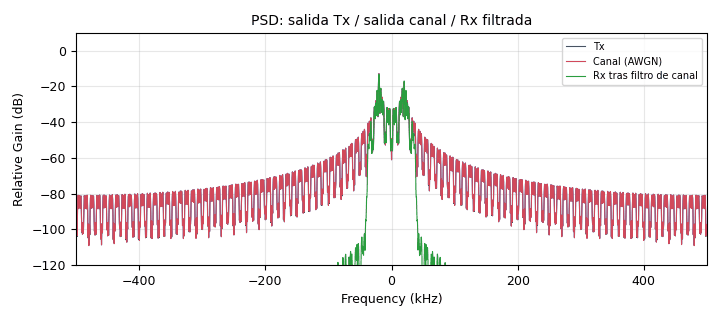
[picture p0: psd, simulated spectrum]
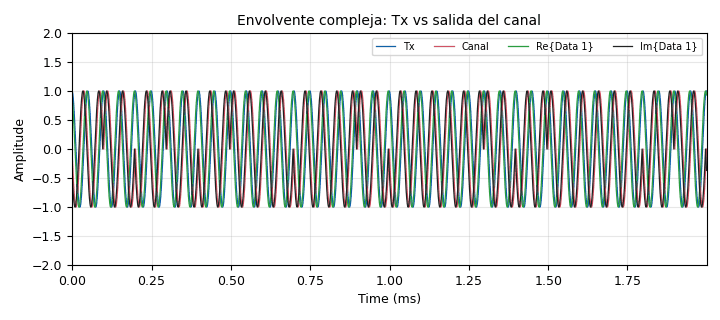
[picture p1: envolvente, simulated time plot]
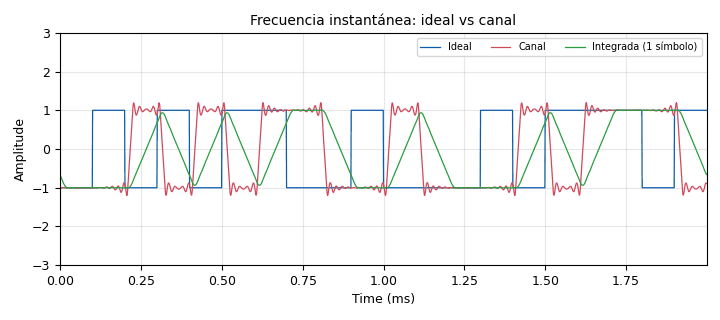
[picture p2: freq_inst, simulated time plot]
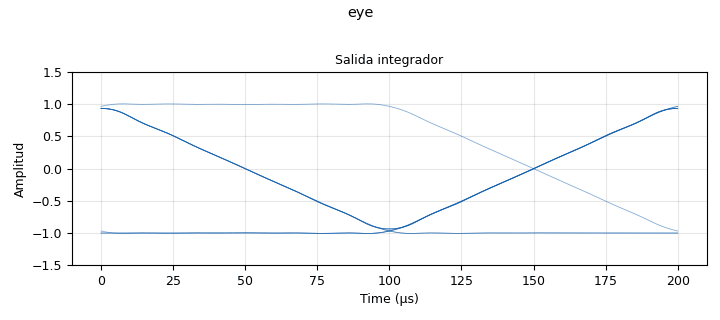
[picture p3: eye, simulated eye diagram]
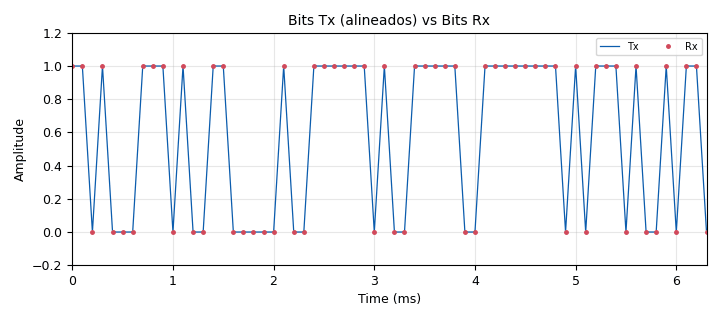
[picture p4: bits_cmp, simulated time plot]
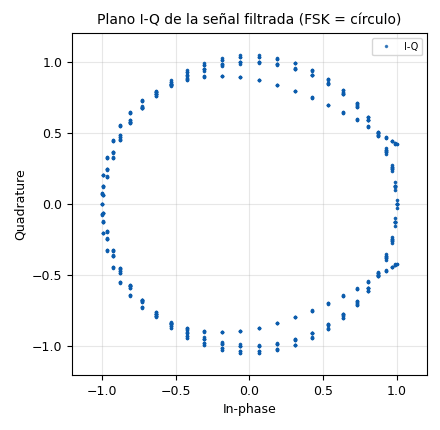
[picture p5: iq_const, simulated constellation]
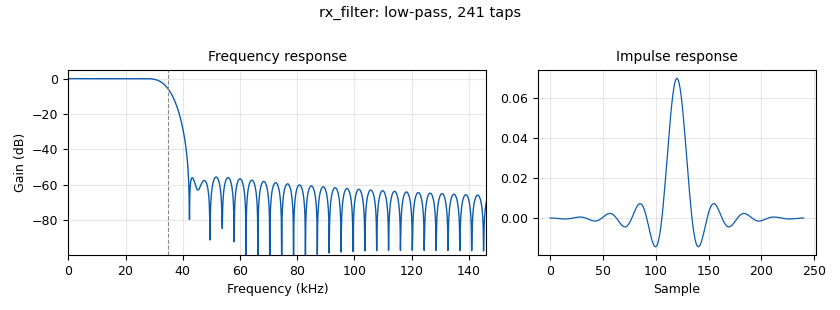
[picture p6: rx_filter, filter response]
options:
  parameters:
    comment: 'Fase 2 - Guia 2: Tx conformado + canal AWGN + receptor disenado'
    description: Simulacion BFSK 10 kbps, df=20 kHz, canal AWGN y receptor con ojo, bits y BER
    generate_options: qt_gui
    id: FSK_Tx_Canal_Rx_Sim
    output_language: python
    title: FSK Tx-Canal-Rx (Guia 2) - Telemetria industrial
  states: {}

blocks:
- name: samp_rate
  id: variable
  parameters:
    comment: 'Tasa de muestreo: 100 MHz/100 en el USRP y 8 MS/s/8 en el HackRF'
    value: 1e6
  states: {}
- name: sps
  id: variable
  parameters:
    comment: Muestras por simbolo
    value: '100'
  states: {}
- name: symbol_rate
  id: variable
  parameters:
    comment: Rs = 10 kbaud (telemetria industrial)
    value: samp_rate/sps
  states: {}
- name: Rb
  id: variable
  parameters:
    comment: 'BFSK binaria: Rb = Rs = 10 kbps'
    value: symbol_rate
  states: {}
- name: ber_window
  id: variable
  parameters:
    comment: Bits promediados para la BER
    value: '10000'
  states: {}
- name: fsk_deviation
  id: variable_qtgui_range
  parameters:
    comment: bit 1 -> +df, bit 0 -> -df
    label: Desviación FSK Δf (Hz)
    value: '20000'
    start: '5000'
    stop: '100000'
    step: '1000'
    gui_hint: 0,0,1,1
  states: {}
- name: noise_voltage
  id: variable_qtgui_range
  parameters:
    comment: Potencia de ruido = sigma^2 sobre samp_rate
    label: Ruido AWGN (noise_voltage σ)
    value: '0'
    start: '0'
    stop: '5'
    step: '0.05'
    gui_hint: 0,1,1,1
  states: {}
- name: sample_offset
  id: variable_qtgui_range
  parameters:
    comment: 16 = maxima apertura del ojo (retardo filtro+integrador = 216 muestras)
    label: Instante de muestreo dentro del símbolo (muestra)
    rangeType: int
    value: '16'
    start: '0'
    stop: '99'
    step: '1'
    gui_hint: 1,0,1,2
  states: {}
- name: bit_delay
  id: variable
  parameters:
    comment: Retardo de la cadena Rx en bits (medido = 2), alinea Tx con Rx
    value: '2'
  states: {}
- name: h_fsk
  id: variable_qtgui_label
  parameters:
    label: Índice de modulación h = 2Δf/Rs
    type: real
    value: 2*fsk_deviation/symbol_rate
    gui_hint: 2,0,1,1
  states: {}
- name: ebn0_db
  id: variable_qtgui_label
  parameters:
    label: Eb/N0 = 10log10(sps/σ²)
    type: string
    value: ('%.1f dB' % (10*math.log10(sps/noise_voltage**2))) if noise_voltage > 0 else 'sin ruido'
    gui_hint: 2,1,1,1
  states: {}
- name: import_0
  id: import
  parameters:
    imports: import math
  states: {}
- name: bit_source
  id: analog_random_source_x
  parameters:
    comment: Bits aleatorios (tramas de telemetria)
    type: byte
    min: '0'
    max: '2'
    num_samps: '10000'
    repeat: 'True'
  states: {}
- name: nrz_mapper
  id: digital_chunks_to_symbols_xx
  parameters:
    dimension: '1'
    in_type: byte
    out_type: float
    symbol_table: '[-1.0, 1.0]'
  states: {}
- name: symbol_repeat
  id: blocks_repeat
  parameters:
    interp: sps
    type: float
  states: {}
- name: fsk_modulator
  id: analog_frequency_modulator_fc
  parameters:
    sensitivity: 2*math.pi*fsk_deviation/samp_rate
  states: {}
- name: throttle
  id: blocks_throttle2
  parameters:
    comment: Solo en simulacion (sin hardware)
    samples_per_second: samp_rate
    type: complex
  states: {}
- name: channel_awgn
  id: channels_channel_model
  parameters:
    block_tags: 'True'
    comment: 'Canal AWGN: ruido de banda ancha de motores/variadores + termico'
    epsilon: '1.0'
    freq_offset: '0.0'
    noise_voltage: noise_voltage
    seed: '0'
    taps: 1.0 + 0.0j
  states: {}
- name: rx_filter
  id: low_pass_filter
  parameters:
    comment: 'Filtro de canal pre-discriminador (~Carson): evita el umbral del discriminador'
    type: fir_filter_ccf
    decim: '1'
    gain: '1'
    samp_rate: samp_rate
    cutoff_freq: fsk_deviation + 1.5*symbol_rate
    width: 10e3
    win: window.WIN_HAMMING
  states: {}
- name: fsk_demod_rx
  id: analog_quadrature_demod_cf
  parameters:
    comment: 'Discriminador: +1 / -1'
    gain: samp_rate/(2*math.pi*fsk_deviation)
  states: {}
- name: integrador
  id: blocks_moving_average_xx
  parameters:
    comment: Integrador de 1 simbolo (filtro acoplado a pulso NRZ)
    type: float
    length: sps
    scale: 1.0/sps
    max_iter: '4000'
  states: {}
- name: eye_align
  id: blocks_delay
  parameters:
    comment: 'Solo visual: centra en el ojo el instante elegido'
    delay: (sps - sample_offset) % sps
    type: float
  states: {}
- name: symbol_sampler
  id: blocks_keep_m_in_n
  parameters:
    comment: Toma 1 muestra por simbolo en sample_offset
    type: float
    m: '1'
    n: sps
    offset: sample_offset
  states: {}
- name: slicer
  id: digital_binary_slicer_fb
  parameters:
    comment: Umbral de decision = 0
  states: {}
- name: fsk_demod_tx
  id: analog_quadrature_demod_cf
  parameters:
    comment: Referencia ideal (sin canal)
    gain: samp_rate/(2*math.pi*fsk_deviation)
  states: {}
- name: tx_ref_delay
  id: blocks_delay
  parameters:
    delay: bit_delay
    type: byte
  states: {}
- name: bit_xor
  id: blocks_xor_xx
  parameters:
    comment: 1 = error de bit
    type: byte
  states: {}
- name: err_to_float
  id: blocks_char_to_float
  parameters:
    scale: '1'
  states: {}
- name: ber_avg
  id: blocks_moving_average_xx
  parameters:
    type: float
    length: ber_window
    scale: 1.0/ber_window
    max_iter: '4000'
  states: {}
- name: tx_to_float
  id: blocks_char_to_float
  parameters:
    scale: '1'
  states: {}
- name: rx_to_float
  id: blocks_char_to_float
  parameters:
    scale: '1'
  states: {}
- name: psd
  id: qtgui_freq_sink_x
  parameters:
    bw: samp_rate
    fc: '0'
    fftsize: '2048'
    grid: 'True'
    gui_hint: 4,0,1,1
    label1: Tx
    label2: Canal (AWGN)
    label3: Rx tras filtro de canal
    name: '"PSD: salida Tx / salida canal / Rx filtrada"'
    nconnections: '3'
    type: complex
    ymin: '-120'
  states: {}
- name: envolvente
  id: qtgui_time_sink_x
  parameters:
    grid: 'True'
    gui_hint: 4,1,1,1
    label1: Tx
    label2: Canal
    label3: ''
    label4: ''
    name: '"Envolvente compleja: Tx vs salida del canal"'
    nconnections: '2'
    size: '2000'
    srate: samp_rate
    type: complex
    ymax: '2'
    ymin: '-2'
  states: {}
- name: freq_inst
  id: qtgui_time_sink_x
  parameters:
    grid: 'True'
    gui_hint: 5,0,1,1
    label1: Ideal
    label2: Canal
    label3: Integrada (1 símbolo)
    name: '"Frecuencia instantánea: ideal vs canal"'
    nconnections: '3'
    size: '2000'
    srate: samp_rate
    type: float
    ymax: '3'
    ymin: '-3'
  states: {}
- name: eye
  id: qtgui_eye_sink_x
  parameters:
    comment: Centro de la traza = instante de muestreo
    type: float
    ylabel: Amplitud
    size: '2000'
    samp_per_symbol: sps
    srate: samp_rate
    ymin: '-1.5'
    ymax: '1.5'
    gui_hint: 5,1,1,1
    label1: Salida integrador
  states: {}
- name: bits_cmp
  id: qtgui_time_sink_x
  parameters:
    grid: 'True'
    gui_hint: 6,0,1,2
    label1: Tx
    label2: Rx
    marker2: '0'
    name: '"Bits Tx (alineados) vs Bits Rx"'
    nconnections: '2'
    size: '64'
    srate: symbol_rate
    style2: '0'
    type: float
    ymax: '1.2'
    ymin: '-0.2'
  states: {}
- name: ber
  id: qtgui_number_sink
  parameters:
    name: '"BER (ventana de ber_window bits)"'
    type: float
    graph_type: qtgui.NUM_GRAPH_HORIZ
    min: '0'
    max: '0.5'
    gui_hint: 3,0,1,2
    label1: BER
    color1: ''
  states: {}
- name: iq_const
  id: qtgui_const_sink_x
  parameters:
    autoscale: 'True'
    comment: 'Envolvente constante: circulo; el ruido engrosa el anillo'
    grid: 'True'
    gui_hint: 7,0,1,1
    label1: I-Q
    name: '"Plano I-Q de la señal filtrada (FSK = círculo)"'
    size: '1024'
    type: complex
  states: {}
- name: soft_to_complex
  id: blocks_float_to_complex
  parameters:
    comment: Muestra de decision -> eje I
  states: {}
- name: decision_const
  id: qtgui_const_sink_x
  parameters:
    comment: Dos nubes en -1 (bit 0) y +1 (bit 1); umbral en 0
    grid: 'True'
    gui_hint: 7,1,1,1
    label1: Simbolos
    name: '"Constelación de decisión (muestra por símbolo)"'
    size: '512'
    type: complex
    ymax: '1'
    ymin: '-1'
  states: {}

connections:
- [rx_filter, '0', iq_const, '0']
- [symbol_sampler, '0', soft_to_complex, '0']
- [soft_to_complex, '0', decision_const, '0']
- [bit_source, '0', nrz_mapper, '0']
- [nrz_mapper, '0', symbol_repeat, '0']
- [symbol_repeat, '0', fsk_modulator, '0']
- [fsk_modulator, '0', throttle, '0']
- [throttle, '0', channel_awgn, '0']
- [channel_awgn, '0', rx_filter, '0']
- [rx_filter, '0', fsk_demod_rx, '0']
- [fsk_demod_rx, '0', integrador, '0']
- [integrador, '0', symbol_sampler, '0']
- [integrador, '0', eye_align, '0']
- [symbol_sampler, '0', slicer, '0']
- [throttle, '0', fsk_demod_tx, '0']
- [bit_source, '0', tx_ref_delay, '0']
- [tx_ref_delay, '0', bit_xor, '0']
- [slicer, '0', bit_xor, '1']
- [bit_xor, '0', err_to_float, '0']
- [err_to_float, '0', ber_avg, '0']
- [ber_avg, '0', ber, '0']
- [tx_ref_delay, '0', tx_to_float, '0']
- [slicer, '0', rx_to_float, '0']
- [tx_to_float, '0', bits_cmp, '0']
- [rx_to_float, '0', bits_cmp, '1']
- [throttle, '0', psd, '0']
- [channel_awgn, '0', psd, '1']
- [rx_filter, '0', psd, '2']
- [throttle, '0', envolvente, '0']
- [channel_awgn, '0', envolvente, '1']
- [fsk_demod_tx, '0', freq_inst, '0']
- [fsk_demod_rx, '0', freq_inst, '1']
- [integrador, '0', freq_inst, '2']
- [eye_align, '0', eye, '0']

metadata:
  file_format: 1
  grc_version: 3.10.12.0
